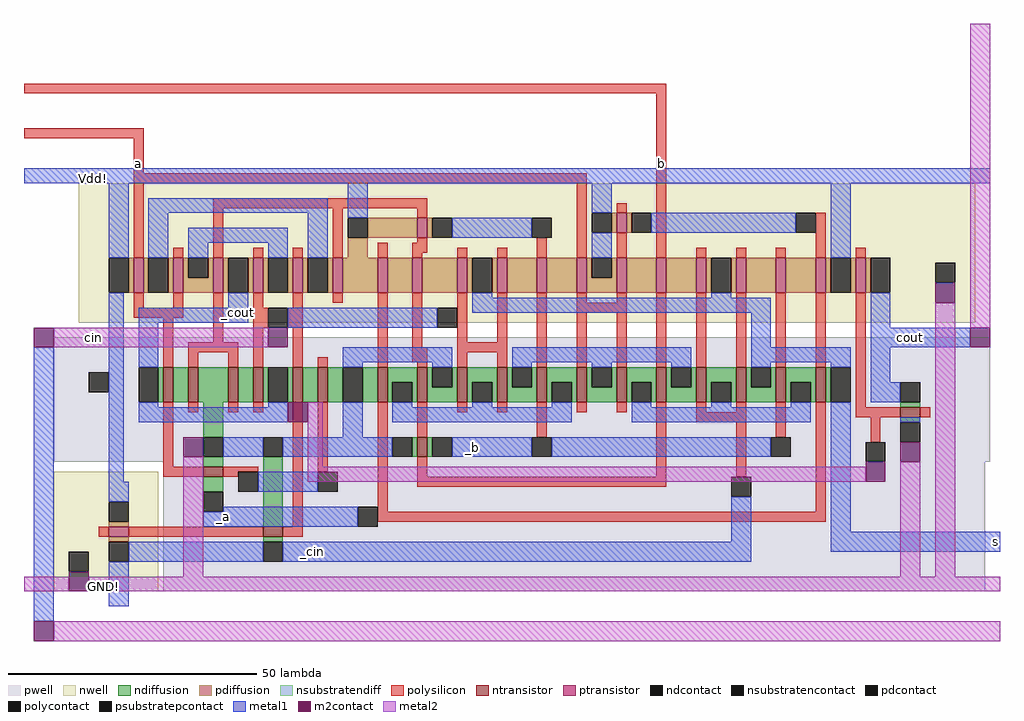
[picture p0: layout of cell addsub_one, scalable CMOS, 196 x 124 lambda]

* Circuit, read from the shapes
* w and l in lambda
.subckt addsub_one GND! Vdd! _a _b _cin _cout a b cin cout s
M1 n1 a _cout Vdd! nfet w=7 l=2
M2 GND! b n1 Vdd! nfet w=7 l=2
M3 GND! a _a Vdd! nfet w=4 l=2
M4 n2 b GND! Vdd! nfet w=7 l=2
M5 _cout cin n2 Vdd! nfet w=7 l=2
M6 GND! cin _cin Vdd! nfet w=4 l=2
M7 n3 cin _cout Vdd! nfet w=7 l=2
M8 GND! a n3 Vdd! nfet w=7 l=2
M9 n4 _a GND! Vdd! nfet w=7 l=2
M10 _b b GND! Vdd! nfet w=4 l=2
M11 GND! b n4 Vdd! nfet w=7 l=2
M12 n4 cin GND! Vdd! nfet w=7 l=2
M13 n5 cin n4 Vdd! nfet w=7 l=2
M14 n4 _b n5 Vdd! nfet w=7 l=2
M15 n5 a n4 Vdd! nfet w=7 l=2
M16 n6 a n5 Vdd! nfet w=7 l=2
M17 n5 b n6 Vdd! nfet w=7 l=2
M18 n6 _cin n5 Vdd! nfet w=7 l=2
M19 s _cin n6 Vdd! nfet w=7 l=2
M20 n6 _b s Vdd! nfet w=7 l=2
M21 s _a n6 Vdd! nfet w=7 l=2
M22 cout _cout GND! Vdd! nfet w=4 l=2
M23 Vdd! cin _cin GND! pfet w=4 l=2
M24 n7 a Vdd! GND! pfet w=7 l=2
M25 n8 a n7 GND! pfet w=7 l=2
M26 _cout b n8 GND! pfet w=7 l=2
M27 n8 cin _cout GND! pfet w=7 l=2
M28 n7 cin n8 GND! pfet w=7 l=2
M29 Vdd! b n7 GND! pfet w=7 l=2
M30 n9 _a Vdd! GND! pfet w=7 l=2
M31 n10 b n9 GND! pfet w=7 l=2
M32 _b b Vdd! GND! pfet w=4 l=2
M33 s cin n10 GND! pfet w=7 l=2
M34 n11 cin s GND! pfet w=7 l=2
M35 n12 _b n11 GND! pfet w=7 l=2
M36 Vdd! a n12 GND! pfet w=7 l=2
M37 n13 a Vdd! GND! pfet w=7 l=2
M38 _a a Vdd! GND! pfet w=4 l=2
M39 n14 b n13 GND! pfet w=7 l=2
M40 s _cin n14 GND! pfet w=7 l=2
M41 n15 _cin s GND! pfet w=7 l=2
M42 n16 _b n15 GND! pfet w=7 l=2
M43 Vdd! _a n16 GND! pfet w=7 l=2
M44 cout _cout Vdd! GND! pfet w=7 l=2
.ends

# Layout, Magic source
magic
tech scmos
<< nwell >>
rect -16 25 164 53
rect -21 -29 0 -5
<< pwell >>
rect -21 -3 167 22
rect 1 -29 166 -3
<< ntransistor >>
rect 1 9 3 16
rect 6 9 8 16
rect 14 9 16 16
rect 19 9 21 16
rect 27 9 29 16
rect 32 9 34 16
rect 44 9 46 16
rect 52 9 54 16
rect 60 9 62 16
rect 68 9 70 16
rect 76 9 78 16
rect 84 9 86 16
rect 92 9 94 16
rect 100 9 102 16
rect 108 9 110 16
rect 116 9 118 16
rect 124 9 126 16
rect 132 9 134 16
rect 9 -6 13 -4
rect 52 -2 54 2
rect 149 6 153 8
rect 21 -18 25 -16
<< ptransistor >>
rect 52 42 54 46
rect 92 43 94 47
rect -5 31 -3 38
rect 3 31 5 38
rect 11 31 13 38
rect 19 31 21 38
rect 27 31 29 38
rect 35 31 37 38
rect 44 31 46 38
rect 51 31 53 38
rect 60 31 62 38
rect 68 31 70 38
rect 76 31 78 38
rect 84 31 86 38
rect 92 31 94 38
rect 100 31 102 38
rect 108 31 110 38
rect 116 31 118 38
rect 124 31 126 38
rect 132 31 134 38
rect 140 31 142 38
rect -10 -18 -6 -16
<< ndiffusion >>
rect 0 9 1 16
rect 3 9 6 16
rect 8 9 14 16
rect 16 9 19 16
rect 21 9 22 16
rect 26 9 27 16
rect 29 9 32 16
rect 34 9 37 16
rect 41 9 44 16
rect 46 13 52 16
rect 46 9 47 13
rect 51 9 52 13
rect 54 12 55 16
rect 59 12 60 16
rect 54 9 60 12
rect 62 13 68 16
rect 62 9 63 13
rect 67 9 68 13
rect 70 12 71 16
rect 75 12 76 16
rect 70 9 76 12
rect 78 13 84 16
rect 78 9 79 13
rect 83 9 84 13
rect 86 12 87 16
rect 91 12 92 16
rect 86 9 92 12
rect 94 13 100 16
rect 94 9 95 13
rect 99 9 100 13
rect 102 12 103 16
rect 107 12 108 16
rect 102 9 108 12
rect 110 13 116 16
rect 110 9 111 13
rect 115 9 116 13
rect 118 12 119 16
rect 123 12 124 16
rect 118 9 124 12
rect 126 13 132 16
rect 126 9 127 13
rect 131 9 132 13
rect 134 9 135 16
rect 9 2 13 9
rect 9 -4 13 -2
rect 9 -9 13 -6
rect 21 -16 25 -2
rect 51 -2 52 2
rect 54 -2 55 2
rect 149 8 153 9
rect 149 5 153 6
rect 21 -19 25 -18
<< pdiffusion >>
rect 42 42 52 46
rect 54 42 55 46
rect 38 38 42 42
rect 91 43 92 47
rect 94 43 95 47
rect -6 31 -5 38
rect -3 31 -2 38
rect 2 31 3 38
rect 5 34 6 38
rect 10 34 11 38
rect 5 31 11 34
rect 13 31 14 38
rect 18 31 19 38
rect 21 31 22 38
rect 26 31 27 38
rect 29 31 30 38
rect 34 31 35 38
rect 37 31 44 38
rect 46 31 51 38
rect 53 31 60 38
rect 62 31 63 38
rect 67 31 68 38
rect 70 31 76 38
rect 78 31 84 38
rect 86 34 87 38
rect 91 34 92 38
rect 86 31 92 34
rect 94 31 100 38
rect 102 31 108 38
rect 110 31 111 38
rect 115 31 116 38
rect 118 31 124 38
rect 126 31 132 38
rect 134 31 135 38
rect 139 31 140 38
rect 142 31 143 38
rect -10 -16 -6 -15
rect -10 -19 -6 -18
<< ndcontact >>
rect -4 9 0 16
rect 22 9 26 16
rect 37 9 41 16
rect 47 9 51 13
rect 55 12 59 16
rect 63 9 67 13
rect 71 12 75 16
rect 79 9 83 13
rect 87 12 91 16
rect 95 9 99 13
rect 103 12 107 16
rect 111 9 115 13
rect 119 12 123 16
rect 127 9 131 13
rect 135 9 139 16
rect 9 -2 13 2
rect 21 -2 25 2
rect 9 -13 13 -9
rect 47 -2 51 2
rect 55 -2 59 2
rect 149 9 153 13
rect 149 1 153 5
rect 21 -23 25 -19
<< pdcontact >>
rect 38 42 42 46
rect 55 42 59 46
rect 87 43 91 47
rect 95 43 99 47
rect -10 31 -6 38
rect -2 31 2 38
rect 6 34 10 38
rect 14 31 18 38
rect 22 31 26 38
rect 30 31 34 38
rect 63 31 67 38
rect 87 34 91 38
rect 111 31 115 38
rect 135 31 139 38
rect 143 31 147 38
rect -10 -15 -6 -11
rect -10 -23 -6 -19
<< nsubstratendiff >>
rect -18 -26 -14 -25
<< psubstratepcontact >>
rect -14 11 -10 15
<< nsubstratencontact >>
rect 156 33 160 37
rect -18 -25 -14 -21
<< polysilicon >>
rect -27 71 102 73
rect -27 62 -3 64
rect -5 55 -3 62
rect -5 53 86 55
rect -5 38 -3 53
rect 11 48 54 50
rect 3 38 5 40
rect 11 38 13 48
rect 19 38 21 40
rect 27 38 29 40
rect 35 38 37 48
rect 52 46 54 48
rect 52 41 54 42
rect 44 38 46 41
rect 51 39 54 41
rect 51 38 53 39
rect 60 38 62 40
rect 68 38 70 40
rect 76 38 78 42
rect 84 38 86 53
rect 92 47 94 49
rect 92 38 94 43
rect 100 38 102 71
rect 108 38 110 40
rect 116 38 118 40
rect 124 38 126 40
rect 132 38 134 47
rect 140 38 142 40
rect -5 28 -3 31
rect 3 28 5 31
rect -5 26 5 28
rect 1 16 3 26
rect 11 21 13 31
rect 19 28 21 31
rect 27 28 29 31
rect 35 29 37 31
rect 19 24 22 28
rect 26 24 29 28
rect 6 19 16 21
rect 6 16 8 19
rect 14 16 16 19
rect 19 16 21 24
rect 27 16 29 24
rect 32 16 34 18
rect 44 16 46 31
rect 51 20 53 31
rect 60 21 62 31
rect 68 21 70 31
rect 51 17 54 20
rect 52 16 54 17
rect 60 19 70 21
rect 60 16 62 19
rect 68 16 70 19
rect 76 16 78 31
rect 84 29 86 31
rect 92 29 94 31
rect 84 27 94 29
rect 84 16 86 27
rect 92 16 94 27
rect 100 16 102 31
rect 108 16 110 31
rect 116 16 118 31
rect 124 16 126 31
rect 132 16 134 31
rect 1 -4 3 9
rect 6 7 8 9
rect 14 7 16 9
rect 19 7 21 9
rect 1 -6 9 -4
rect 13 -5 20 -4
rect 13 -6 16 -5
rect 27 -16 29 9
rect 32 -5 34 9
rect 44 -13 46 9
rect 52 2 54 9
rect 60 7 62 9
rect 68 7 70 9
rect 76 2 78 9
rect 84 7 86 9
rect 92 7 94 9
rect 52 -6 54 -2
rect 100 -6 102 9
rect 108 7 110 9
rect 116 7 118 9
rect 108 5 118 7
rect 116 -6 118 5
rect 124 2 126 9
rect 52 -8 102 -6
rect 132 -13 134 9
rect 140 8 142 31
rect 140 6 149 8
rect 153 6 155 8
rect 143 1 145 6
rect 44 -15 134 -13
rect -12 -18 -10 -16
rect -6 -18 21 -16
rect 25 -18 29 -16
<< polycontact >>
rect 75 42 79 46
rect 128 43 132 47
rect 22 24 26 28
rect 56 24 60 28
rect 16 -9 20 -5
rect 32 -9 36 -5
rect 40 -16 44 -12
rect 75 -2 79 2
rect 123 -2 127 2
rect 115 -10 119 -6
rect 142 -3 146 1
<< metal1 >>
rect -27 53 167 56
rect -10 38 -6 53
rect -2 47 34 50
rect -2 38 2 47
rect 6 41 26 44
rect 6 38 10 41
rect 22 38 26 41
rect 30 38 34 47
rect 38 46 42 53
rect 87 47 91 53
rect 59 42 75 46
rect 99 43 128 47
rect 87 38 91 43
rect 135 38 139 53
rect -25 -35 -21 20
rect -10 -7 -7 31
rect 14 28 18 31
rect 63 30 67 31
rect 111 30 115 31
rect -4 25 18 28
rect -4 16 0 25
rect 26 24 56 28
rect 63 27 123 30
rect 119 20 123 27
rect 143 24 147 31
rect 143 20 163 24
rect 37 17 59 20
rect 37 16 41 17
rect -4 8 0 9
rect 55 16 59 17
rect 22 8 26 9
rect -4 5 26 8
rect 37 2 41 9
rect 71 17 107 20
rect 71 16 75 17
rect 47 8 51 9
rect 87 16 91 17
rect 63 8 67 9
rect 103 16 107 17
rect 79 8 83 9
rect 47 5 83 8
rect 119 17 139 20
rect 119 16 123 17
rect 95 8 99 9
rect 135 16 139 17
rect 111 8 115 9
rect 127 8 131 9
rect 95 5 131 8
rect 143 13 147 20
rect 143 9 149 13
rect 13 -2 21 2
rect 25 -2 47 2
rect 59 -2 75 2
rect 79 -2 123 2
rect -10 -11 -6 -7
rect 20 -9 32 -5
rect 13 -13 40 -12
rect 9 -16 40 -13
rect 115 -19 119 -10
rect -6 -23 21 -19
rect 25 -23 119 -19
rect 135 -17 139 9
rect 149 5 153 6
rect 135 -21 169 -17
rect -10 -32 -6 -23
<< m2contact >>
rect -25 20 -21 24
rect 22 20 26 24
rect 156 29 160 33
rect 163 20 167 24
rect 26 5 30 9
rect 5 -2 9 2
rect -18 -29 -14 -25
rect 149 -3 153 1
rect 142 -7 146 -3
rect -25 -39 -21 -35
<< metal2 >>
rect -21 20 22 24
rect -27 -29 -18 -26
rect 5 -26 9 -2
rect 30 -4 33 9
rect 30 -7 142 -4
rect 149 -26 153 -3
rect 156 -26 160 29
rect 163 24 167 85
rect -14 -29 169 -26
rect -21 -39 169 -35
<< labels >>
rlabel metal2 -13 22 -13 22 3 cin
rlabel polysilicon -4 57 -4 57 5 a
rlabel polysilicon 101 57 101 57 5 b
rlabel metal1 -13 54 -13 54 4 Vdd!
rlabel metal1 63 0 63 0 1 _b
rlabel metal1 16 27 16 27 1 _cout
rlabel metal2 -11 -28 -11 -28 2 GND!
rlabel metal1 31 -21 31 -21 1 _cin
rlabel metal1 13 -14 13 -14 1 _a
rlabel metal1 151 22 151 22 1 cout
rlabel metal1 168 -21 168 -17 7 s
<< end >>
